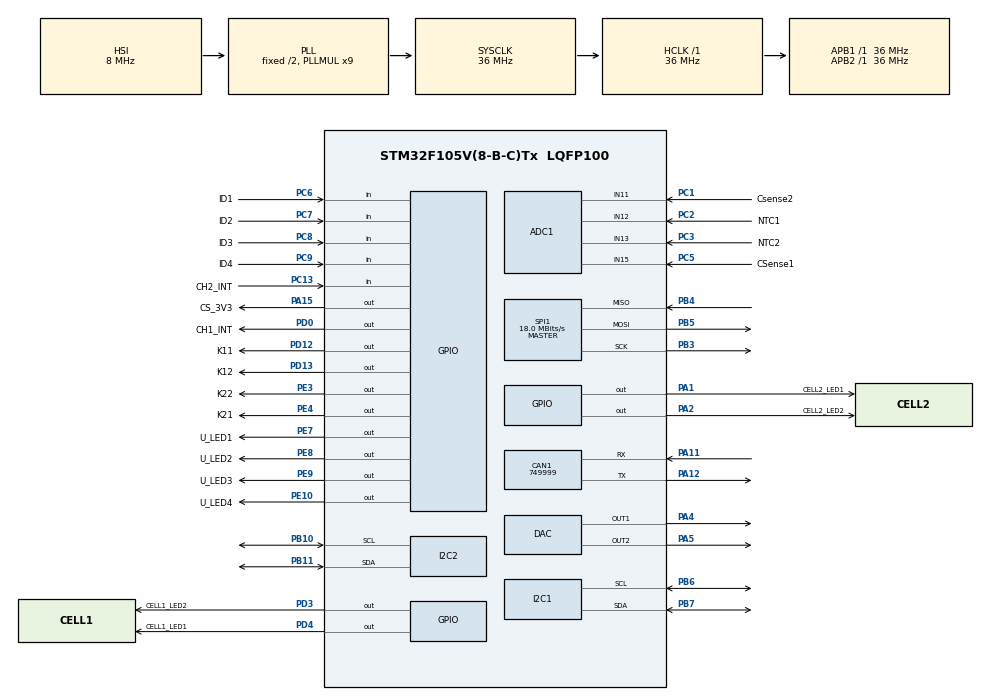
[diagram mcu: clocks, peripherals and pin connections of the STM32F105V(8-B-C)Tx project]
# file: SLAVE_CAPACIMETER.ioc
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ADC1.Channel-0\#ChannelRegularConversion=ADC_CHANNEL_11
ADC1.NbrOfConversionFlag=1
ADC1.Rank-0\#ChannelRegularConversion=1
ADC1.SamplingTime-0\#ChannelRegularConversion=ADC_SAMPLETIME_1CYCLE_5
ADC1.master=1
CAN1.CalculateBaudRate=749999
CAN1.CalculateTimeBit=1333
CAN1.CalculateTimeQuantum=444.44444444444446
Mcu.Family=STM32F1
Mcu.Name=STM32F105V(8-B-C)Tx
Mcu.Package=LQFP100
NVIC.PriorityGroup=NVIC_PRIORITYGROUP_4
PA1.GPIO_Label=CELL2_LED1
PA1.Signal=GPIO_Output
PA11.Mode=CAN_Activate
PA11.Signal=CAN1_RX
PA12.Mode=CAN_Activate
PA12.Signal=CAN1_TX
PA13.Mode=Serial_Wire
PA13.Signal=SYS_JTMS-SWDIO
PA14.Mode=Serial_Wire
PA14.Signal=SYS_JTCK-SWCLK
PA15.GPIO_Label=CS_3V3
PA15.Signal=GPIO_Output
PA2.GPIO_Label=CELL2_LED2
PA2.Signal=GPIO_Output
PA4.Signal=COMP_DAC1_group
PA5.Signal=COMP_DAC2_group
PB10.Mode=I2C
PB10.Signal=I2C2_SCL
PB11.Mode=I2C
PB11.Signal=I2C2_SDA
PB3.Mode=Full_Duplex_Master
PB3.Signal=SPI1_SCK
PB4.Mode=Full_Duplex_Master
PB4.Signal=SPI1_MISO
PB5.Mode=Full_Duplex_Master
PB5.Signal=SPI1_MOSI
PB6.Mode=I2C
PB6.Signal=I2C1_SCL
PB7.Mode=I2C
PB7.Signal=I2C1_SDA
PC1.GPIO_Label=Csense2
PC1.Signal=ADCx_IN11
PC13-TAMPER-RTC.GPIO_Label=CH2_INT
PC13-TAMPER-RTC.Signal=GPIO_Input
PC2.GPIO_Label=NTC1
PC2.Signal=ADCx_IN12
PC3.GPIO_Label=NTC2
PC3.Signal=ADCx_IN13
PC5.GPIO_Label=CSense1
PC5.Signal=ADCx_IN15
PC6.GPIO_Label=ID1
PC6.Signal=GPIO_Input
PC7.GPIO_Label=ID2
PC7.Signal=GPIO_Input
PC8.GPIO_Label=ID3
PC8.Signal=GPIO_Input
PC9.GPIO_Label=ID4
PC9.Signal=GPIO_Input
PD0.GPIO_Label=CH1_INT
PD0.Signal=GPIO_Output
PD12.GPIO_Label=K11
PD12.Signal=GPIO_Output
PD13.GPIO_Label=K12
PD13.Signal=GPIO_Output
PD3.GPIO_Label=CELL1_LED2
PD3.Signal=GPIO_Output
PD4.GPIO_Label=CELL1_LED1
PD4.Signal=GPIO_Output
PE10.GPIO_Label=U_LED4
PE10.Signal=GPIO_Output
PE3.GPIO_Label=K22
PE3.Signal=GPIO_Output
PE4.GPIO_Label=K21
PE4.Signal=GPIO_Output
PE7.GPIO_Label=U_LED1
PE7.Signal=GPIO_Output
PE8.GPIO_Label=U_LED2
PE8.Signal=GPIO_Output
PE9.GPIO_Label=U_LED3
PE9.Signal=GPIO_Output
ProjectManager.HeapSize=0x200
ProjectManager.StackSize=0x400
ProjectManager.TargetToolchain=STM32CubeIDE
RCC.ADCPresc=RCC_ADCPCLK2_DIV4
RCC.AHBFreq_Value=36000000
RCC.APB1Freq_Value=36000000
RCC.APB1TimFreq_Value=36000000
RCC.APB2Freq_Value=36000000
RCC.APB2TimFreq_Value=36000000
RCC.HCLKFreq_Value=36000000
RCC.PLLMUL=RCC_PLL_MUL9
RCC.SYSCLKFreq_VALUE=36000000
RCC.SYSCLKSource=RCC_SYSCLKSOURCE_PLLCLK
RCC.USBFreq_Value=24000000
SH.ADCx_IN11.0=ADC1_IN11,IN11
SH.ADCx_IN12.0=ADC1_IN12,IN12
SH.ADCx_IN13.0=ADC1_IN13,IN13
SH.ADCx_IN15.0=ADC1_IN15,IN15
SH.COMP_DAC1_group.0=DAC_OUT1,DAC_OUT1
SH.COMP_DAC2_group.0=DAC_OUT2,DAC_OUT2
SPI1.CalculateBaudRate=18.0 MBits/s
SPI1.Direction=SPI_DIRECTION_2LINES
SPI1.Mode=SPI_MODE_MASTER
SPI1.VirtualType=VM_MASTER
board=custom

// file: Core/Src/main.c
/* USER CODE BEGIN Header */
/**
  ******************************************************************************
  * @file           : main.c
  * @brief          : Main program body
  ******************************************************************************
  * @attention
  *
  * Copyright (c) 2024 STMicroelectronics.
  * All rights reserved.
  *
  * This software is licensed under terms that can be found in the LICENSE file
  * in the root directory of this software component.
  * If no LICENSE file comes with this software, it is provided AS-IS.
  *
  ******************************************************************************
  */
/* USER CODE END Header */
#include "main.h"

/* USER CODE BEGIN Includes */
#include "GPIOS.h"
/* USER CODE END Includes */

ADC_HandleTypeDef hadc1;

CAN_HandleTypeDef hcan1;

DAC_HandleTypeDef hdac;

I2C_HandleTypeDef hi2c1;
I2C_HandleTypeDef hi2c2;

SPI_HandleTypeDef hspi1;

/* USER CODE BEGIN PV */
uint8_t estat = 0;
/* USER CODE END PV */

void SystemClock_Config(void);
static void MX_GPIO_Init(void);
static void MX_ADC1_Init(void);
static void MX_CAN1_Init(void);
static void MX_DAC_Init(void);
static void MX_I2C1_Init(void);
static void MX_I2C2_Init(void);
static void MX_SPI1_Init(void);

int main(void)
{

  /* MCU Configuration--------------------------------------------------------*/

  /* Reset of all peripherals, Initializes the Flash interface and the Systick. */
  HAL_Init();

  /* Configure the system clock */
  SystemClock_Config();

  /* Initialize all configured peripherals */
  MX_GPIO_Init();
  MX_ADC1_Init();
  MX_CAN1_Init();
  MX_DAC_Init();
  MX_I2C1_Init();
  MX_I2C2_Init();
  MX_SPI1_Init();

  /* Infinite loop */
  /* USER CODE BEGIN WHILE */
  while (1)
  {
	  switch(estat)
	  {
	  case 0:
		  rele_K11(1);
		  rele_K12(0);
		  rele_K21(0);
		  rele_K22(0);
		  LED1(1);
		  LED2(0);
		  LED3(0);
		  LED4(0);
		  estat = 1;
		  break;
	  case 1:
		  rele_K11(0);
		  rele_K12(1);
		  rele_K21(0);
		  rele_K22(0);
		  LED1(0);
		  LED2(1);
		  LED3(0);
		  LED4(0);
		  estat = 2;
		  break;
	  case 2:
		  rele_K11(0);
		  rele_K12(0);
		  rele_K21(1);
		  rele_K22(0);
		  LED1(0);
		  LED2(0);
		  LED3(1);
		  LED4(0);
		  estat = 3;
		  break;
	  case 3:
		  rele_K11(0);
		  rele_K12(0);
		  rele_K21(0);
		  rele_K22(1);
		  LED1(0);
		  LED2(0);
		  LED3(0);
		  LED4(1);
		  estat = 0;
		  break;
	  }
	  HAL_Delay(200);
    /* USER CODE END WHILE */

  }
}

void SystemClock_Config(void)
{
  RCC_OscInitTypeDef RCC_OscInitStruct = {0};
  RCC_ClkInitTypeDef RCC_ClkInitStruct = {0};
  RCC_PeriphCLKInitTypeDef PeriphClkInit = {0};

  /** Initializes the RCC Oscillators according to the specified parameters
  * in the RCC_OscInitTypeDef structure.
  */
  RCC_OscInitStruct.OscillatorType = RCC_OSCILLATORTYPE_HSI;
  RCC_OscInitStruct.HSIState = RCC_HSI_ON;
  RCC_OscInitStruct.HSICalibrationValue = RCC_HSICALIBRATION_DEFAULT;
  RCC_OscInitStruct.Prediv1Source = RCC_PREDIV1_SOURCE_HSE;
  RCC_OscInitStruct.PLL.PLLState = RCC_PLL_ON;
  RCC_OscInitStruct.PLL.PLLSource = RCC_PLLSOURCE_HSI_DIV2;
  RCC_OscInitStruct.PLL.PLLMUL = RCC_PLL_MUL9;
  RCC_OscInitStruct.PLL2.PLL2State = RCC_PLL_NONE;
  if (HAL_RCC_OscConfig(&RCC_OscInitStruct) != HAL_OK)
  {
    Error_Handler();
  }

  /** Initializes the CPU, AHB and APB buses clocks
  */
  RCC_ClkInitStruct.ClockType = RCC_CLOCKTYPE_HCLK|RCC_CLOCKTYPE_SYSCLK
                              |RCC_CLOCKTYPE_PCLK1|RCC_CLOCKTYPE_PCLK2;
  RCC_ClkInitStruct.SYSCLKSource = RCC_SYSCLKSOURCE_PLLCLK;
  RCC_ClkInitStruct.AHBCLKDivider = RCC_SYSCLK_DIV1;
  RCC_ClkInitStruct.APB1CLKDivider = RCC_HCLK_DIV1;
  RCC_ClkInitStruct.APB2CLKDivider = RCC_HCLK_DIV1;

  if (HAL_RCC_ClockConfig(&RCC_ClkInitStruct, FLASH_LATENCY_1) != HAL_OK)
  {
    Error_Handler();
  }
  PeriphClkInit.PeriphClockSelection = RCC_PERIPHCLK_ADC;
  PeriphClkInit.AdcClockSelection = RCC_ADCPCLK2_DIV4;
  if (HAL_RCCEx_PeriphCLKConfig(&PeriphClkInit) != HAL_OK)
  {
    Error_Handler();
  }

  /** Configure the Systick interrupt time
  */
  __HAL_RCC_PLLI2S_ENABLE();
}

static void MX_ADC1_Init(void)
{

  ADC_ChannelConfTypeDef sConfig = {0};

  /** Common config
  */
  hadc1.Instance = ADC1;
  hadc1.Init.ScanConvMode = ADC_SCAN_DISABLE;
  hadc1.Init.ContinuousConvMode = DISABLE;
  hadc1.Init.DiscontinuousConvMode = DISABLE;
  hadc1.Init.ExternalTrigConv = ADC_SOFTWARE_START;
  hadc1.Init.DataAlign = ADC_DATAALIGN_RIGHT;
  hadc1.Init.NbrOfConversion = 1;
  if (HAL_ADC_Init(&hadc1) != HAL_OK)
  {
    Error_Handler();
  }

  /** Configure Regular Channel
  */
  sConfig.Channel = ADC_CHANNEL_11;
  sConfig.Rank = ADC_REGULAR_RANK_1;
  sConfig.SamplingTime = ADC_SAMPLETIME_1CYCLE_5;
  if (HAL_ADC_ConfigChannel(&hadc1, &sConfig) != HAL_OK)
  {
    Error_Handler();
  }

}

static void MX_CAN1_Init(void)
{

  hcan1.Instance = CAN1;
  hcan1.Init.Prescaler = 16;
  hcan1.Init.Mode = CAN_MODE_NORMAL;
  hcan1.Init.SyncJumpWidth = CAN_SJW_1TQ;
  hcan1.Init.TimeSeg1 = CAN_BS1_1TQ;
  hcan1.Init.TimeSeg2 = CAN_BS2_1TQ;
  hcan1.Init.TimeTriggeredMode = DISABLE;
  hcan1.Init.AutoBusOff = DISABLE;
  hcan1.Init.AutoWakeUp = DISABLE;
  hcan1.Init.AutoRetransmission = DISABLE;
  hcan1.Init.ReceiveFifoLocked = DISABLE;
  hcan1.Init.TransmitFifoPriority = DISABLE;
  if (HAL_CAN_Init(&hcan1) != HAL_OK)
  {
    Error_Handler();
  }

}

static void MX_DAC_Init(void)
{

  DAC_ChannelConfTypeDef sConfig = {0};

  /** DAC Initialization
  */
  hdac.Instance = DAC;
  if (HAL_DAC_Init(&hdac) != HAL_OK)
  {
    Error_Handler();
  }

  /** DAC channel OUT1 config
  */
  sConfig.DAC_Trigger = DAC_TRIGGER_NONE;
  sConfig.DAC_OutputBuffer = DAC_OUTPUTBUFFER_ENABLE;
  if (HAL_DAC_ConfigChannel(&hdac, &sConfig, DAC_CHANNEL_1) != HAL_OK)
  {
    Error_Handler();
  }

  /** DAC channel OUT2 config
  */
  if (HAL_DAC_ConfigChannel(&hdac, &sConfig, DAC_CHANNEL_2) != HAL_OK)
  {
    Error_Handler();
  }

}

static void MX_I2C1_Init(void)
{

  hi2c1.Instance = I2C1;
  hi2c1.Init.ClockSpeed = 100000;
  hi2c1.Init.DutyCycle = I2C_DUTYCYCLE_2;
  hi2c1.Init.OwnAddress1 = 0;
  hi2c1.Init.AddressingMode = I2C_ADDRESSINGMODE_7BIT;
  hi2c1.Init.DualAddressMode = I2C_DUALADDRESS_DISABLE;
  hi2c1.Init.OwnAddress2 = 0;
  hi2c1.Init.GeneralCallMode = I2C_GENERALCALL_DISABLE;
  hi2c1.Init.NoStretchMode = I2C_NOSTRETCH_DISABLE;
  if (HAL_I2C_Init(&hi2c1) != HAL_OK)
  {
    Error_Handler();
  }

}

static void MX_I2C2_Init(void)
{

  hi2c2.Instance = I2C2;
  hi2c2.Init.ClockSpeed = 100000;
  hi2c2.Init.DutyCycle = I2C_DUTYCYCLE_2;
  hi2c2.Init.OwnAddress1 = 0;
  hi2c2.Init.AddressingMode = I2C_ADDRESSINGMODE_7BIT;
  hi2c2.Init.DualAddressMode = I2C_DUALADDRESS_DISABLE;
  hi2c2.Init.OwnAddress2 = 0;
  hi2c2.Init.GeneralCallMode = I2C_GENERALCALL_DISABLE;
  hi2c2.Init.NoStretchMode = I2C_NOSTRETCH_DISABLE;
  if (HAL_I2C_Init(&hi2c2) != HAL_OK)
  {
    Error_Handler();
  }

}

static void MX_SPI1_Init(void)
{

  /* SPI1 parameter configuration*/
  hspi1.Instance = SPI1;
  hspi1.Init.Mode = SPI_MODE_MASTER;
  hspi1.Init.Direction = SPI_DIRECTION_2LINES;
  hspi1.Init.DataSize = SPI_DATASIZE_8BIT;
  hspi1.Init.CLKPolarity = SPI_POLARITY_LOW;
  hspi1.Init.CLKPhase = SPI_PHASE_1EDGE;
  hspi1.Init.NSS = SPI_NSS_SOFT;
  hspi1.Init.BaudRatePrescaler = SPI_BAUDRATEPRESCALER_2;
  hspi1.Init.FirstBit = SPI_FIRSTBIT_MSB;
  hspi1.Init.TIMode = SPI_TIMODE_DISABLE;
  hspi1.Init.CRCCalculation = SPI_CRCCALCULATION_DISABLE;
  hspi1.Init.CRCPolynomial = 10;
  if (HAL_SPI_Init(&hspi1) != HAL_OK)
  {
    Error_Handler();
  }

}

static void MX_GPIO_Init(void)
{
  GPIO_InitTypeDef GPIO_InitStruct = {0};

  /* GPIO Ports Clock Enable */
  __HAL_RCC_GPIOE_CLK_ENABLE();
  __HAL_RCC_GPIOC_CLK_ENABLE();
  __HAL_RCC_GPIOA_CLK_ENABLE();
  __HAL_RCC_GPIOB_CLK_ENABLE();
  __HAL_RCC_GPIOD_CLK_ENABLE();

  /*Configure GPIO pin Output Level */
  HAL_GPIO_WritePin(GPIOE, K22_Pin|K21_Pin|U_LED1_Pin|U_LED2_Pin
                          |U_LED3_Pin|U_LED4_Pin, GPIO_PIN_RESET);

  /*Configure GPIO pin Output Level */
  HAL_GPIO_WritePin(GPIOA, CELL2_LED1_Pin|CELL2_LED2_Pin|CS_3V3_Pin, GPIO_PIN_RESET);

  /*Configure GPIO pin Output Level */
  HAL_GPIO_WritePin(GPIOD, K11_Pin|K12_Pin|CH1_INT_Pin|CELL1_LED2_Pin
                          |CELL1_LED1_Pin, GPIO_PIN_RESET);

  /*Configure GPIO pins : K22_Pin K21_Pin U_LED1_Pin U_LED2_Pin
                           U_LED3_Pin U_LED4_Pin */
  GPIO_InitStruct.Pin = K22_Pin|K21_Pin|U_LED1_Pin|U_LED2_Pin
                          |U_LED3_Pin|U_LED4_Pin;
  GPIO_InitStruct.Mode = GPIO_MODE_OUTPUT_PP;
  GPIO_InitStruct.Pull = GPIO_NOPULL;
  GPIO_InitStruct.Speed = GPIO_SPEED_FREQ_LOW;
  HAL_GPIO_Init(GPIOE, &GPIO_InitStruct);

  /*Configure GPIO pins : CH2_INT_Pin ID1_Pin ID2_Pin ID3_Pin
                           ID4_Pin */
  GPIO_InitStruct.Pin = CH2_INT_Pin|ID1_Pin|ID2_Pin|ID3_Pin
                          |ID4_Pin;
  GPIO_InitStruct.Mode = GPIO_MODE_INPUT;
  GPIO_InitStruct.Pull = GPIO_NOPULL;
  HAL_GPIO_Init(GPIOC, &GPIO_InitStruct);

  /*Configure GPIO pins : CELL2_LED1_Pin CELL2_LED2_Pin CS_3V3_Pin */
  GPIO_InitStruct.Pin = CELL2_LED1_Pin|CELL2_LED2_Pin|CS_3V3_Pin;
  GPIO_InitStruct.Mode = GPIO_MODE_OUTPUT_PP;
  GPIO_InitStruct.Pull = GPIO_NOPULL;
  GPIO_InitStruct.Speed = GPIO_SPEED_FREQ_LOW;
  HAL_GPIO_Init(GPIOA, &GPIO_InitStruct);

  /*Configure GPIO pins : K11_Pin K12_Pin CH1_INT_Pin CELL1_LED2_Pin
                           CELL1_LED1_Pin */
  GPIO_InitStruct.Pin = K11_Pin|K12_Pin|CH1_INT_Pin|CELL1_LED2_Pin
                          |CELL1_LED1_Pin;
  GPIO_InitStruct.Mode = GPIO_MODE_OUTPUT_PP;
  GPIO_InitStruct.Pull = GPIO_NOPULL;
  GPIO_InitStruct.Speed = GPIO_SPEED_FREQ_LOW;
  HAL_GPIO_Init(GPIOD, &GPIO_InitStruct);

}

void Error_Handler(void)
{
  __disable_irq();
  while (1)
  {
  }
}
